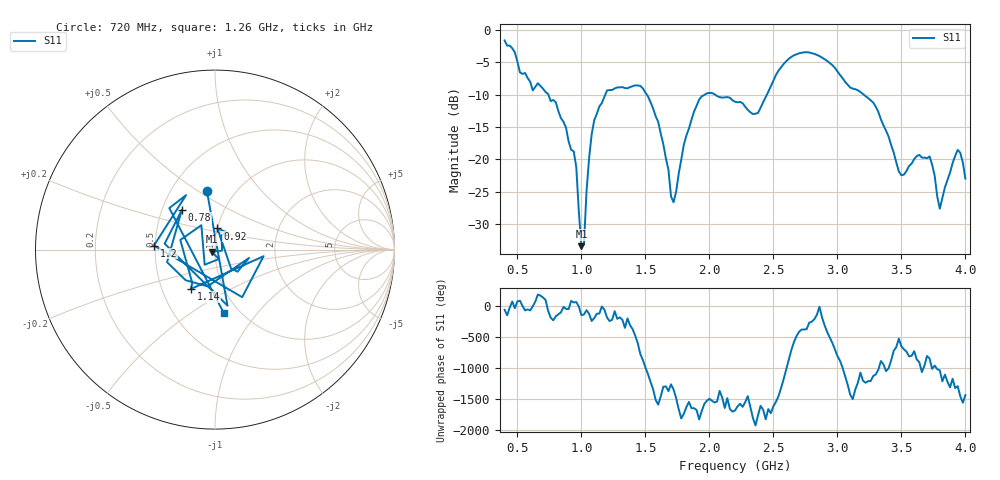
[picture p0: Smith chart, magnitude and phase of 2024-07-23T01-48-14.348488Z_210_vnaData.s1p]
!Created with skrf (http://scikit-rf.org).
# Hz S RI R 50.0
!freq ReS11 ImS11
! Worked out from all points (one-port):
!   181 points, 400 MHz to 4 GHz, reference 50 ohm
!   lowest |S11| = -33.4 dB at 1 GHz (marker M1), VSWR 1.04, Z = 48.2 - j1.14 ohm
!   |S11| at or under -10 dB: 742 MHz to 1.186 GHz (444.4 MHz wide, 46.1 % of centre); 1.511 GHz to 1.964 GHz (452.5 MHz wide, 26 % of centre); 3.206 GHz to end of sweep (the widest 3 of 4)
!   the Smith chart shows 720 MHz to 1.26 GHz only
!   S11 on the Smith chart (normalised r, x): 720 MHz: 0.74, +0.55; 780 MHz: 0.63, +0.30; 920 MHz: 1.00, +0.24; 1.14 GHz: 0.70, -0.33; 1.2 GHz: 0.49, +0.03; 1.26 GHz: 0.85, -0.68
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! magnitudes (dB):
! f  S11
! 400 MHz  -1.6
! 720 MHz  -9.6
! 780 MHz  -10.8
! 860 MHz  -14.2
! 920 MHz  -18.5
! 960 MHz  -21.2
! 1 GHz  -33.4
! 1.02 GHz  -33.1
! 1.08 GHz  -16.1
! 1.14 GHz  -11.8
! 1.2 GHz  -9.3
! 1.26 GHz  -9.0
! 1.3 GHz  -8.9
! 1.52 GHz  -10.3
! 1.72 GHz  -26.6
! 1.76 GHz  -22.2
! 1.94 GHz  -10.2
! 2.2 GHz  -11.1
! 2.38 GHz  -12.8
! 2.66 GHz  -3.9
! 3.1 GHz  -8.9
! 3.3 GHz  -11.9
! 3.5 GHz  -22.4
! 3.56 GHz  -21.0
! 3.72 GHz  -19.5
! 3.8 GHz  -27.6
! 3.94 GHz  -18.5
! 4 GHz  -23.0
